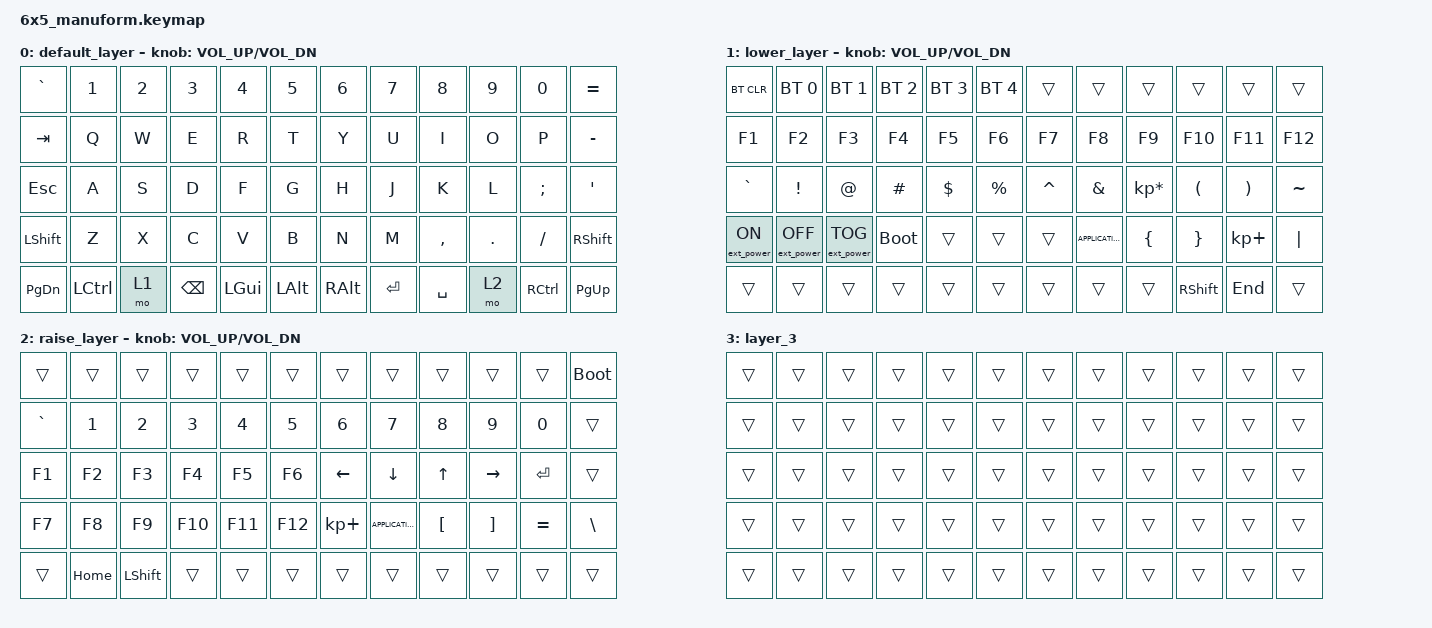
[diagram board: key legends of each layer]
/*
 * Copyright (c) 2020 The ZMK Contributors
 *
 * SPDX-License-Identifier: MIT
 */

#include <behaviors.dtsi>
#include <dt-bindings/zmk/bt.h>
#include <dt-bindings/zmk/ext_power.h>
#include <dt-bindings/zmk/keys.h>

/ {
    keymap {
        compatible = "zmk,keymap";

        default_layer {
            // ------------------------------------------------------------------------------------------------------------
            // |  ESC   |  1  |  2  |  3   |  4   |  5   |                    |  6   |  7    |  8    |  9   |   0   |   `   |
            // |  TAB   |  Q  |  W  |  E   |  R   |  T   |                    |  Y   |  U    |  I    |  O   |   P   |   -   |
            // |  CTRL  |  A  |  S  |  D   |  F   |  G   |                    |  H   |  J    |  K    |  L   |   ;   |   '   |
            // | SHIFT  |  Z  |  X  |  C   |  V   |  B   |                    |  N   |  M    |  ,    |  .   |   /   | SHIFT |
            // |    2   |  2  | f   | 6    | 4    | 1    |                    | 2    | 1     | w     | s    | n     |  a    |

            bindings = <
&kp GRAVE       &kp N1            &kp N2  &kp N3         &kp N4    &kp N5        &kp N6         &kp N7     &kp N8     &kp N9   &kp N0             &kp EQUAL
&kp TAB         &kp Q             &kp W   &kp E          &kp R     &kp T         &kp Y          &kp U      &kp I      &kp O    &kp P              &kp MINUS
&kp ESCAPE      &kp A             &kp S   &kp D          &kp F     &kp G         &kp H          &kp J      &kp K      &kp L    &kp SEMI           &kp SQT
&kp LEFT_SHIFT  &kp Z             &kp X   &kp C          &kp V     &kp B         &kp N          &kp M      &kp COMMA  &kp DOT  &kp FSLH           &kp RIGHT_SHIFT
&kp PAGE_DOWN   &kp LEFT_CONTROL  &mo 1   &kp BACKSPACE  &kp LGUI  &kp LEFT_ALT  &kp RIGHT_ALT  &kp ENTER  &kp SPACE  &mo 2    &kp RIGHT_CONTROL  &kp PG_UP
            >;

            sensor-bindings = <&inc_dec_kp C_VOL_UP C_VOL_DN>;
        };

        lower_layer {
            // ------------------------------------------------------------------------------------------------------------
            // | BTCLR | BT1 | BT2 |  BT3 |  BT4 |  BT5 |                   |      |       |       |      |       |       |
            // |  F1   |  F2 |  F3 |  F4  |  F5  |  F6  |                   |  F7  |  F8   |  F9   |  F10 |  F11  |  F12  |
            // |   `   |  !  |  @  |  #   |  $   |  %   |                   |  ^   |  &    |  *    |  (   |   )   |   ~   |
            // |       |     |     |      |      |      |                   |      |  _    |  +    |  {   |   }   |  "|"  |
            // |       |     |     |      |      |      |                   |      |       |       |      |       |       |

            bindings = <
&bt BT_CLR        &bt BT_SEL 0       &bt BT_SEL 1       &bt BT_SEL 2  &bt BT_SEL 3  &bt BT_SEL 4  &trans     &trans             &trans           &trans           &trans       &trans
&kp F1            &kp F2             &kp F3             &kp F4        &kp F5        &kp F6        &kp F7     &kp F8             &kp F9           &kp F10          &kp F11      &kp F12
&kp GRAVE         &kp EXCL           &kp AT             &kp HASH      &kp DOLLAR    &kp PRCNT     &kp CARET  &kp AMPS           &kp KP_MULTIPLY  &kp LPAR         &kp RPAR     &kp TILDE
&ext_power EP_ON  &ext_power EP_OFF  &ext_power EP_TOG  &bootloader   &trans        &trans        &trans     &kp K_APPLICATION  &kp LEFT_BRACE   &kp RIGHT_BRACE  &kp KP_PLUS  &kp PIPE
&trans            &trans             &trans             &trans        &trans        &trans        &trans     &trans             &trans           &kp RIGHT_SHIFT  &kp END      &trans
            >;

            sensor-bindings = <&inc_dec_kp C_VOL_UP C_VOL_DN>;
        };

        raise_layer {
            // ------------------------------------------------------------------------------------------------------------
            // |       |     |     |      |      |      |                   |      |       |       |      |       |       |
            // |   `   |  1  |  2  |  3   |  4   |  5   |                   |  6   |   7   |   8   |  9   |   0   |       |
            // |   F1  |  F2 |  F3 |  F4  |  F5  |  F6  |                   |      |   <-  |   v   |  ^   |  ->   |       |
            // |   F7  |  F8 |  F9 |  F10 |  F11 |  F12 |		             |  +   |   -   |   =   |  [   |   ]   |   \   |
            // |     |     |      |      |      |        |                   |       |      |       |       |      |       |

            bindings = <
&trans     &trans    &trans          &trans   &trans   &trans   &trans       &trans             &trans            &trans     &trans     &bootloader
&kp GRAVE  &kp N1    &kp N2          &kp N3   &kp N4   &kp N5   &kp N6       &kp N7             &kp N8            &kp N9     &kp N0     &trans
&kp F1     &kp F2    &kp F3          &kp F4   &kp F5   &kp F6   &kp LEFT     &kp DOWN           &kp UP_ARROW      &kp RIGHT  &kp ENTER  &trans
&kp F7     &kp F8    &kp F9          &kp F10  &kp F11  &kp F12  &kp KP_PLUS  &kp K_APPLICATION  &kp LEFT_BRACKET  &kp RBKT   &kp EQUAL  &kp BSLH
&trans     &kp HOME  &kp LEFT_SHIFT  &trans   &trans   &trans   &trans       &trans             &trans            &trans     &trans     &trans
            >;

            sensor-bindings = <&inc_dec_kp C_VOL_UP C_VOL_DN>;
        };

        layer_3 {
            bindings = <
&trans  &trans  &trans  &trans  &trans  &trans  &trans  &trans  &trans  &trans  &trans  &trans
&trans  &trans  &trans  &trans  &trans  &trans  &trans  &trans  &trans  &trans  &trans  &trans
&trans  &trans  &trans  &trans  &trans  &trans  &trans  &trans  &trans  &trans  &trans  &trans
&trans  &trans  &trans  &trans  &trans  &trans  &trans  &trans  &trans  &trans  &trans  &trans
&trans  &trans  &trans  &trans  &trans  &trans  &trans  &trans  &trans  &trans  &trans  &trans
            >;
        };
    };
};
